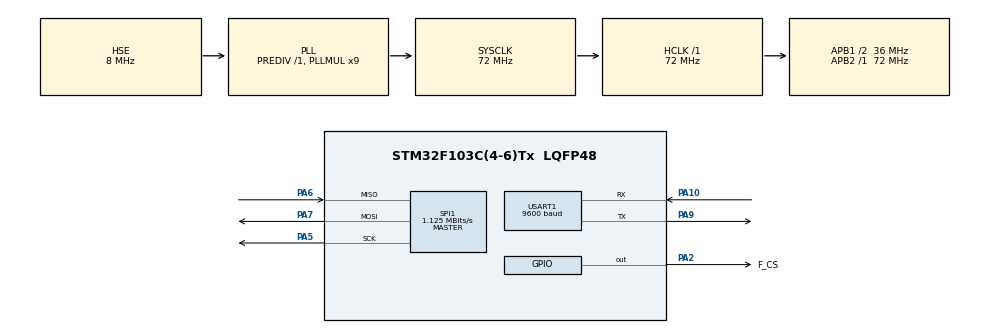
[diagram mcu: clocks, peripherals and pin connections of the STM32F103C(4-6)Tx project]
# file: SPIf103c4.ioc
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Mcu.Family=STM32F1
Mcu.Name=STM32F103C(4-6)Tx
Mcu.Package=LQFP48
NVIC.PriorityGroup=NVIC_PRIORITYGROUP_4
PA10.Mode=Asynchronous
PA10.Signal=USART1_RX
PA13.Mode=Serial_Wire
PA13.Signal=SYS_JTMS-SWDIO
PA14.Mode=Serial_Wire
PA14.Signal=SYS_JTCK-SWCLK
PA2.GPIO_Label=F_CS
PA2.Signal=GPIO_Output
PA5.Mode=Full_Duplex_Master
PA5.Signal=SPI1_SCK
PA6.Mode=Full_Duplex_Master
PA6.Signal=SPI1_MISO
PA7.Mode=Full_Duplex_Master
PA7.Signal=SPI1_MOSI
PA9.Mode=Asynchronous
PA9.Signal=USART1_TX
PD0-OSC_IN.Mode=HSE-External-Oscillator
PD0-OSC_IN.Signal=RCC_OSC_IN
PD1-OSC_OUT.Mode=HSE-External-Oscillator
PD1-OSC_OUT.Signal=RCC_OSC_OUT
ProjectManager.HeapSize=0x200
ProjectManager.StackSize=0x400
ProjectManager.TargetToolchain=Makefile
RCC.AHBFreq_Value=72000000
RCC.APB1CLKDivider=RCC_HCLK_DIV2
RCC.APB1Freq_Value=36000000
RCC.APB1TimFreq_Value=72000000
RCC.APB2Freq_Value=72000000
RCC.APB2TimFreq_Value=72000000
RCC.HCLKFreq_Value=72000000
RCC.PLLMUL=RCC_PLL_MUL9
RCC.PLLSourceVirtual=RCC_PLLSOURCE_HSE
RCC.SYSCLKFreq_VALUE=72000000
RCC.SYSCLKSource=RCC_SYSCLKSOURCE_PLLCLK
RCC.USBFreq_Value=72000000
SPI1.BaudRatePrescaler=SPI_BAUDRATEPRESCALER_64
SPI1.CalculateBaudRate=1.125 MBits/s
SPI1.Direction=SPI_DIRECTION_2LINES
SPI1.Mode=SPI_MODE_MASTER
SPI1.VirtualType=VM_MASTER
USART1.BaudRate=9600
USART1.VirtualMode=VM_ASYNC
board=custom

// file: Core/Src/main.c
/* USER CODE BEGIN Header */
/**
  ******************************************************************************
  * @file           : main.c
  * @brief          : Main program body
  ******************************************************************************
  * @attention
  *
  * Copyright (c) 2024 STMicroelectronics.
  * All rights reserved.
  *
  * This software is licensed under terms that can be found in the LICENSE file
  * in the root directory of this software component.
  * If no LICENSE file comes with this software, it is provided AS-IS.
  *
  ******************************************************************************
  */
/* USER CODE END Header */
#include "main.h"

/* USER CODE BEGIN Includes */
#include "stdio.h"
#include "string.h"
/* USER CODE END Includes */

SPI_HandleTypeDef hspi1;

UART_HandleTypeDef huart1;

void SystemClock_Config(void);
static void MX_GPIO_Init(void);
static void MX_SPI1_Init(void);
static void MX_USART1_UART_Init(void);

/* USER CODE BEGIN 0 */
uint8_t cmd_read_id = 0x9F;
uint8_t data_read[9];
char data_buffer[50];

void enable_write(void)
{
	uint8_t code = 0x06;
	HAL_GPIO_WritePin(F_CS_GPIO_Port, F_CS_Pin, 0);
	HAL_SPI_Transmit(&hspi1, &code, 1, 10);
	HAL_GPIO_WritePin(F_CS_GPIO_Port, F_CS_Pin, 1);
}

void disable_write(void)
{
	uint8_t code = 0x04;
	HAL_GPIO_WritePin(F_CS_GPIO_Port, F_CS_Pin, 0);
	HAL_SPI_Transmit(&hspi1, &code, 1, 10);
	HAL_GPIO_WritePin(F_CS_GPIO_Port, F_CS_Pin, 1);
}

uint8_t read_status(void)
{
    uint8_t code = 0x05;
    uint8_t status = 0;

    HAL_GPIO_WritePin(F_CS_GPIO_Port, F_CS_Pin, 0);
    HAL_SPI_Transmit(&hspi1, &code, 1, 10);
    HAL_SPI_Receive(&hspi1, &status, 1, 10);
    HAL_GPIO_WritePin(F_CS_GPIO_Port, F_CS_Pin, 1);

    return status;
}

void wait_until_not_busy(void)
{
    uint8_t status;
    do {
        status = read_status();
    } while (status == 1);
}

void write_data(uint16_t add, uint8_t* data, uint16_t size)
{

	uint8_t add_h = (add >> 8) & 0xFF;
	uint8_t add_l = add & 0xFF;
	uint8_t data_trans[3];

	data_trans[0] = 0x02;
	data_trans[1] = add_h;
	data_trans[2] = add_l;

	/*for (int i = 0;i < size; i++)
	{
		data_trans[i+3] = data[i];
	}*/

	enable_write();

	HAL_GPIO_WritePin(F_CS_GPIO_Port, F_CS_Pin, 0);
	HAL_SPI_Transmit(&hspi1, &data_trans[0], 3, 100);
	//wait_until_not_busy();
	HAL_SPI_Transmit(&hspi1, &data[0], size, HAL_MAX_DELAY);
	wait_until_not_busy();
	HAL_GPIO_WritePin(F_CS_GPIO_Port, F_CS_Pin, 1);

	disable_write();
}

void read_data(uint16_t add, uint8_t* data, uint16_t size)
{
	uint8_t code = 0x03;
	uint8_t add_h = (add >> 8) & 0xFF;
	uint8_t add_l = add & 0xFF;
	uint8_t add_trans[3] = {code, add_h, add_l};

	HAL_GPIO_WritePin(F_CS_GPIO_Port, F_CS_Pin, 0);
	HAL_SPI_Transmit(&hspi1, &add_trans[0], 3, 10);
	HAL_SPI_Receive(&hspi1, &data[0], size, HAL_MAX_DELAY);
	HAL_GPIO_WritePin(F_CS_GPIO_Port, F_CS_Pin, 1);
}
/* USER CODE END 0 */

int main(void)
{

  /* MCU Configuration--------------------------------------------------------*/

  /* Reset of all peripherals, Initializes the Flash interface and the Systick. */
  HAL_Init();

  /* Configure the system clock */
  SystemClock_Config();

  /* Initialize all configured peripherals */
  MX_GPIO_Init();
  MX_SPI1_Init();
  MX_USART1_UART_Init();
  /* USER CODE BEGIN 2 */
	uint8_t data_write[256] = " hello\r\n";
	uint8_t poem[] = "Toi yeu dat nuoc toi. Tu bao gio khong biet nua. Co the tu khi toi sinh ra, dat nuoc da co roi.\n Dat nuoc len m	uon thuong noi buon doi lan mat.\nToi yeu dan toc toi. Tu bao gio khong biet nua. Co the tu khi toi biet noi cuoi buoi so sinh.aasdfjasdfkjasldfjasldjflk";
	uint16_t size = strlen((char*)poem);
	uint8_t data_size[2];
	data_size[0] = (size >> 8) & 0xFF;
	data_size[1] = size & 0xFF;
	uint8_t data_trans[100];
	uint8_t data_read[1024] = {0};

	sprintf((char*)data_trans,"do dai data: %03d%03d",data_size[0],data_size[1]);
	write_data(0x0000,&poem[0], size);
	read_data(0x0000, &data_read[0], size);
	HAL_UART_Transmit(&huart1, &data_trans[0], strlen((char*)data_trans), 100);
	//HAL_UART_Transmit(&huart1, &data_read[0], size, HAL_MAX_DELAY);
  /* USER CODE END 2 */

  /* Infinite loop */
  while (1)
  {

    /* USER CODE BEGIN 3 */

	/*write_data(0x0000, &data_write[0], size);
	read_data(0x0000, &data_read[0], size);
	HAL_UART_Transmit(&huart1, &data_read[0], size, 100);

	HAL_Delay(1000);*/
  }
  /* USER CODE END 3 */
}

void SystemClock_Config(void)
{
  RCC_OscInitTypeDef RCC_OscInitStruct = {0};
  RCC_ClkInitTypeDef RCC_ClkInitStruct = {0};

  /** Initializes the RCC Oscillators according to the specified parameters
  * in the RCC_OscInitTypeDef structure.
  */
  RCC_OscInitStruct.OscillatorType = RCC_OSCILLATORTYPE_HSE;
  RCC_OscInitStruct.HSEState = RCC_HSE_ON;
  RCC_OscInitStruct.HSEPredivValue = RCC_HSE_PREDIV_DIV1;
  RCC_OscInitStruct.HSIState = RCC_HSI_ON;
  RCC_OscInitStruct.PLL.PLLState = RCC_PLL_ON;
  RCC_OscInitStruct.PLL.PLLSource = RCC_PLLSOURCE_HSE;
  RCC_OscInitStruct.PLL.PLLMUL = RCC_PLL_MUL9;
  if (HAL_RCC_OscConfig(&RCC_OscInitStruct) != HAL_OK)
  {
    Error_Handler();
  }

  /** Initializes the CPU, AHB and APB buses clocks
  */
  RCC_ClkInitStruct.ClockType = RCC_CLOCKTYPE_HCLK|RCC_CLOCKTYPE_SYSCLK
                              |RCC_CLOCKTYPE_PCLK1|RCC_CLOCKTYPE_PCLK2;
  RCC_ClkInitStruct.SYSCLKSource = RCC_SYSCLKSOURCE_PLLCLK;
  RCC_ClkInitStruct.AHBCLKDivider = RCC_SYSCLK_DIV1;
  RCC_ClkInitStruct.APB1CLKDivider = RCC_HCLK_DIV2;
  RCC_ClkInitStruct.APB2CLKDivider = RCC_HCLK_DIV1;

  if (HAL_RCC_ClockConfig(&RCC_ClkInitStruct, FLASH_LATENCY_2) != HAL_OK)
  {
    Error_Handler();
  }
}

static void MX_SPI1_Init(void)
{

  /* SPI1 parameter configuration*/
  hspi1.Instance = SPI1;
  hspi1.Init.Mode = SPI_MODE_MASTER;
  hspi1.Init.Direction = SPI_DIRECTION_2LINES;
  hspi1.Init.DataSize = SPI_DATASIZE_8BIT;
  hspi1.Init.CLKPolarity = SPI_POLARITY_LOW;
  hspi1.Init.CLKPhase = SPI_PHASE_1EDGE;
  hspi1.Init.NSS = SPI_NSS_SOFT;
  hspi1.Init.BaudRatePrescaler = SPI_BAUDRATEPRESCALER_64;
  hspi1.Init.FirstBit = SPI_FIRSTBIT_MSB;
  hspi1.Init.TIMode = SPI_TIMODE_DISABLE;
  hspi1.Init.CRCCalculation = SPI_CRCCALCULATION_DISABLE;
  hspi1.Init.CRCPolynomial = 10;
  if (HAL_SPI_Init(&hspi1) != HAL_OK)
  {
    Error_Handler();
  }

}

static void MX_USART1_UART_Init(void)
{

  huart1.Instance = USART1;
  huart1.Init.BaudRate = 9600;
  huart1.Init.WordLength = UART_WORDLENGTH_8B;
  huart1.Init.StopBits = UART_STOPBITS_1;
  huart1.Init.Parity = UART_PARITY_NONE;
  huart1.Init.Mode = UART_MODE_TX_RX;
  huart1.Init.HwFlowCtl = UART_HWCONTROL_NONE;
  huart1.Init.OverSampling = UART_OVERSAMPLING_16;
  if (HAL_UART_Init(&huart1) != HAL_OK)
  {
    Error_Handler();
  }

}

static void MX_GPIO_Init(void)
{
  GPIO_InitTypeDef GPIO_InitStruct = {0};

  /* GPIO Ports Clock Enable */
  __HAL_RCC_GPIOD_CLK_ENABLE();
  __HAL_RCC_GPIOA_CLK_ENABLE();

  /*Configure GPIO pin Output Level */
  HAL_GPIO_WritePin(F_CS_GPIO_Port, F_CS_Pin, GPIO_PIN_SET);

  /*Configure GPIO pin : F_CS_Pin */
  GPIO_InitStruct.Pin = F_CS_Pin;
  GPIO_InitStruct.Mode = GPIO_MODE_OUTPUT_PP;
  GPIO_InitStruct.Pull = GPIO_NOPULL;
  GPIO_InitStruct.Speed = GPIO_SPEED_FREQ_LOW;
  HAL_GPIO_Init(F_CS_GPIO_Port, &GPIO_InitStruct);

}

void Error_Handler(void)
{
  __disable_irq();
  while (1)
  {
  }
}
